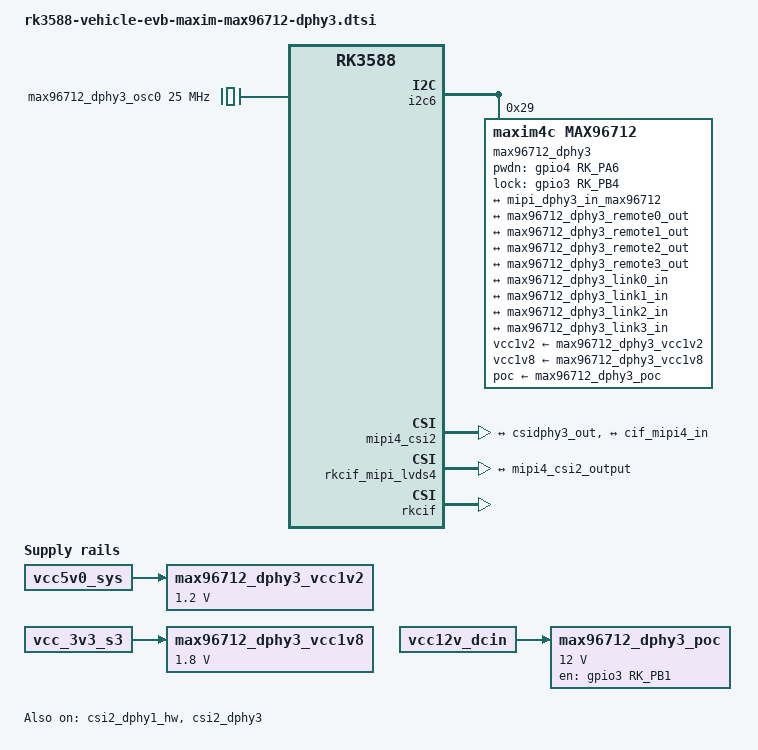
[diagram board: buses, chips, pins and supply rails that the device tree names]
// SPDX-License-Identifier: (GPL-2.0+ OR MIT)
/*
 * Copyright (c) 2023 Rockchip Electronics Co., Ltd.
 *
 */
#include <dt-bindings/display/media-bus-format.h>

/ {
	max96712_dphy3_osc0: max96712-dphy3-oscillator@0 {
		compatible = "fixed-clock";
		#clock-cells = <1>;
		clock-frequency = <25000000>;
		clock-output-names = "max96712-dphy3-osc0";
	};

	max96712_dphy3_vcc1v2: max96712-dphy3-vcc1v2 {
		compatible = "regulator-fixed";
		regulator-name = "max96712_dphy3_vcc1v2";
		regulator-boot-on;
		regulator-always-on;
		regulator-min-microvolt = <1200000>;
		regulator-max-microvolt = <1200000>;
		startup-delay-us = <850>;
		vin-supply = <&vcc5v0_sys>;
	};

	max96712_dphy3_vcc1v8: max96712-dphy3-vcc1v8 {
		compatible = "regulator-fixed";
		regulator-name = "max96712_dphy3_vcc1v8";
		regulator-boot-on;
		regulator-always-on;
		regulator-min-microvolt = <1800000>;
		regulator-max-microvolt = <1800000>;
		startup-delay-us = <200>;
		vin-supply = <&vcc_3v3_s3>;
	};

	max96712_dphy3_poc: max96712-dphy3-poc {
		compatible = "regulator-fixed";
		regulator-name = "max96712_dphy3_poc";
		regulator-boot-on;
		regulator-min-microvolt = <12000000>;
		regulator-max-microvolt = <12000000>;
		enable-active-high;
		gpio = <&gpio3 RK_PB1 GPIO_ACTIVE_HIGH>;
		startup-delay-us = <1050>;
		off-on-delay-us = <515000>;
		vin-supply = <&vcc12v_dcin>;
	};
};

&csi2_dphy1_hw {
	status = "okay";
};

&csi2_dphy3 {
	status = "okay";

	ports {
		#address-cells = <1>;
		#size-cells = <0>;
		port@0 {
			reg = <0>;
			#address-cells = <1>;
			#size-cells = <0>;

			mipi_dphy3_in_max96712: endpoint@1 {
				reg = <1>;
				remote-endpoint = <&max96712_dphy3_out>;
				data-lanes = <1 2 3 4>;
			};
		};
		port@1 {
			reg = <1>;
			#address-cells = <1>;
			#size-cells = <0>;

			csidphy3_out: endpoint@0 {
				reg = <0>;
				remote-endpoint = <&mipi4_csi2_input>;
			};
		};
	};
};

&i2c6 {
	status = "okay";
	pinctrl-names = "default";
	pinctrl-0 = <&i2c6m3_xfer>;

	max96712_dphy3: max96712@29 {
		compatible = "maxim4c,max96712";
		status = "okay";
		reg = <0x29>;
		clock-names = "xvclk";
		clocks = <&max96712_dphy3_osc0 0>;
		pinctrl-names = "default";
		pinctrl-0 = <&max96712_dphy3_pwdn>, <&max96712_dphy3_errb>, <&max96712_dphy3_lock>;
		power-domains = <&power RK3588_PD_VI>;
		rockchip,grf = <&sys_grf>;
		pwdn-gpios = <&gpio4 RK_PA6 GPIO_ACTIVE_HIGH>;
		lock-gpios = <&gpio3 RK_PB4 GPIO_ACTIVE_HIGH>;
		vcc1v2-supply = <&max96712_dphy3_vcc1v2>;
		vcc1v8-supply = <&max96712_dphy3_vcc1v8>;
		poc-supply = <&max96712_dphy3_poc>;

		rockchip,camera-module-index = <0>;
		rockchip,camera-module-facing = "back";
		rockchip,camera-module-name = "max96712";
		rockchip,camera-module-lens-name = "max96712";

		port {
			max96712_dphy3_out: endpoint {
				remote-endpoint = <&mipi_dphy3_in_max96712>;
				data-lanes = <1 2 3 4>;
			};
		};

		/* support mode config start */
		support-mode-config {
			status = "okay";

			bus-format = <MEDIA_BUS_FMT_UYVY8_2X8>;
			sensor-width = <1920>;
			sensor-height = <1440>;
			max-fps-numerator = <10000>;
			max-fps-denominator = <300000>;
			bpp = <16>;
			link-freq-idx = <20>;
			vc-array = <0x10 0x20 0x40 0x80>; // VC0~3: bit4~7
		};
		/* support mode config end */

		/* serdes local device start */
		serdes-local-device {
			status = "okay";

			/* GMSL LINK config start */
			gmsl-links {
				status = "okay";

				link-vdd-ldo1-en = <1>;
				link-vdd-ldo2-en = <1>;

				// Link A: link-id = 0
				gmsl-link-config-0 {
					status = "okay";
					link-id = <0>; // Link ID: 0/1/2/3

					link-type = <1>;
					link-rx-rate = <1>;
					link-tx-rate = <0>;

					port {
						max96712_dphy3_link0_in: endpoint {
							remote-endpoint = <&max96712_dphy3_remote0_out>;
						};
					};

					link-init-sequence {
						seq-item-size = <5>; // reg-addr-len + reg-val-len * 2 + 1
						reg-addr-len = <2>; // 1: 8bits, 2: 16bits
						reg-val-len = <1>; // 1: 8bits, 2: 16bits, 3: 24bits

						// reg_addr reg_val val_mask delay
						init-sequence = [
							14 D1 03 00 00 // VGAHiGain
							14 45 00 00 00 // Disable SSC
						];
					};
				};

				// Link B: link-id = 1
				gmsl-link-config-1 {
					status = "okay";
					link-id = <1>; // Link ID: 0/1/2/3

					link-type = <1>;
					link-rx-rate = <1>;
					link-tx-rate = <0>;

					port {
						max96712_dphy3_link1_in: endpoint {
							remote-endpoint = <&max96712_dphy3_remote1_out>;
						};
					};

					link-init-sequence {
						seq-item-size = <5>; // reg-addr-len + reg-val-len * 2 + 1
						reg-addr-len = <2>; // 1: 8bits, 2: 16bits
						reg-val-len = <1>; // 1: 8bits, 2: 16bits, 3: 24bits

						// reg_addr reg_val val_mask delay
						init-sequence = [
							15 D1 03 00 00 // VGAHiGain
							15 45 00 00 00 // Disable SSC
						];
					};
				};

				// Link C: link-id = 2
				gmsl-link-config-2 {
					status = "okay";
					link-id = <2>; // Link ID: 0/1/2/3

					link-type = <1>;
					link-rx-rate = <1>;
					link-tx-rate = <0>;

					port {
						max96712_dphy3_link2_in: endpoint {
							remote-endpoint = <&max96712_dphy3_remote2_out>;
						};
					};

					link-init-sequence {
						seq-item-size = <5>; // reg-addr-len + reg-val-len * 2 + 1
						reg-addr-len = <2>; // 1: 8bits, 2: 16bits
						reg-val-len = <1>; // 1: 8bits, 2: 16bits, 3: 24bits

						// reg_addr reg_val val_mask delay
						init-sequence = [
							16 D1 03 00 00 // VGAHiGain
							16 45 00 00 00 // Disable SSC
						];
					};
				};

				// Link D: link-id = 3
				gmsl-link-config-3 {
					status = "okay";
					link-id = <3>; // Link ID: 0/1/2/3

					link-type = <1>;
					link-rx-rate = <1>;
					link-tx-rate = <0>;

					port {
						max96712_dphy3_link3_in: endpoint {
							remote-endpoint = <&max96712_dphy3_remote3_out>;
						};
					};

					link-init-sequence {
						seq-item-size = <5>; // reg-addr-len + reg-val-len * 2 + 1
						reg-addr-len = <2>; // 1: 8bits, 2: 16bits
						reg-val-len = <1>; // 1: 8bits, 2: 16bits, 3: 24bits

						// reg_addr reg_val val_mask delay
						init-sequence = [
							17 D1 03 00 00 // VGAHiGain
							17 45 00 00 00 // Disable SSC
						];
					};
				};
			};
			/* GMSL LINK config end */

			/* VIDEO PIPE config start */
			video-pipes {
				status = "okay";

				// Video Pipe 0
				video-pipe-config-0 {
					status = "okay";
					pipe-id = <0>; // Video Pipe ID: 0/1/2/3/4/5/6/7

					pipe-idx = <2>; // Video Pipe X/Y/Z/U: 0/1/2/3
					link-idx = <0>; // Link A/B/C/D: 0/1/2/3

					pipe-init-sequence {
						seq-item-size = <5>; // reg-addr-len + reg-val-len * 2 + 1
						reg-addr-len = <2>; // 1: 8bits, 2: 16bits
						reg-val-len = <1>; // 1: 8bits, 2: 16bits, 3: 24bits

						// reg_addr reg_val val_mask delay
						init-sequence = [
							// Send YUV422, FS, and FE from Video Pipe 0 to Controller 1
							09 0B 07 00 00 // Enable 0/1/2 SRC/DST Mappings
							09 2D 15 00 00 // SRC/DST 0/1/2 -> CSI2 Controller 1;
							// For the following MSB 2 bits = VC, LSB 6 bits = DT
							09 0D 1e 00 00 // SRC0 VC = 0, DT = YUV422 8bit
							09 0E 1e 00 00 // DST0 VC = 0, DT = YUV422 8bit
							09 0F 00 00 00 // SRC1 VC = 0, DT = Frame Start
							09 10 00 00 00 // DST1 VC = 0, DT = Frame Start
							09 11 01 00 00 // SRC2 VC = 0, DT = Frame End
							09 12 01 00 00 // DST2 VC = 0, DT = Frame End
						];
					};
				};

				// Video Pipe 1
				video-pipe-config-1 {
					status = "okay";
					pipe-id = <1>; // Video Pipe 1: pipe-id = 1

					pipe-idx = <2>; // Video Pipe X/Y/Z/U: 0/1/2/3
					link-idx = <1>; // Link A/B/C/D: 0/1/2/3

					pipe-init-sequence {
						seq-item-size = <5>; // reg-addr-len + reg-val-len * 2 + 1
						reg-addr-len = <2>; // 1: 8bits, 2: 16bits
						reg-val-len = <1>; // 1: 8bits, 2: 16bits, 3: 24bits

						// reg_addr reg_val val_mask delay
						init-sequence = [
							// Send YUV422, FS, and FE from Video Pipe 1 to Controller 1
							09 4B 07 00 00 // Enable 0/1/2 SRC/DST Mappings
							09 6D 15 00 00 // SRC/DST 0/1/2 -> CSI2 Controller 1;
							// For the following MSB 2 bits = VC, LSB 6 bits = DT
							09 4D 1e 00 00 // SRC0 VC = 0, DT = YUV422 8bit
							09 4E 5e 00 00 // DST0 VC = 1, DT = YUV422 8bit
							09 4F 00 00 00 // SRC1 VC = 0, DT = Frame Start
							09 50 40 00 00 // DST1 VC = 1, DT = Frame Start
							09 51 01 00 00 // SRC2 VC = 0, DT = Frame End
							09 52 41 00 00 // DST2 VC = 1, DT = Frame End
						];
					};
				};

				// Video Pipe 2
				video-pipe-config-2 {
					status = "okay";
					pipe-id = <2>; // Video Pipe ID: 0/1/2/3/4/5/6/7

					pipe-idx = <2>; // Video Pipe X/Y/Z/U: 0/1/2/3
					link-idx = <2>; // Link A/B/C/D: 0/1/2/3

					pipe-init-sequence {
						seq-item-size = <5>; // reg-addr-len + reg-val-len * 2 + 1
						reg-addr-len = <2>; // 1: 8bits, 2: 16bits
						reg-val-len = <1>; // 1: 8bits, 2: 16bits, 3: 24bits

						// reg_addr reg_val val_mask delay
						init-sequence = [
							// Send YUV422, FS, and FE from Video Pipe 2 to Controller 1
							09 8B 07 00 00 // Enable 0/1/2 SRC/DST Mappings
							09 AD 15 00 00 // SRC/DST 0/1/2 -> CSI2 Controller 1;
							// For the following MSB 2 bits = VC, LSB 6 bits = DT
							09 8D 1e 00 00 // SRC0 VC = 0, DT = YUV422 8bit
							09 8E 9e 00 00 // DST0 VC = 2, DT = YUV422 8bit
							09 8F 00 00 00 // SRC1 VC = 0, DT = Frame Start
							09 90 80 00 00 // DST1 VC = 2, DT = Frame Start
							09 91 01 00 00 // SRC2 VC = 0, DT = Frame End
							09 92 81 00 00 // DST2 VC = 2, DT = Frame End
						];
					};
				};

				// Video Pipe 3
				video-pipe-config-3 {
					status = "okay";
					pipe-id = <3>; // Video Pipe ID: 0/1/2/3/4/5/6/7

					pipe-idx = <2>; // Video Pipe X/Y/Z/U: 0/1/2/3
					link-idx = <3>; // Link A/B/C/D: 0/1/2/3

					pipe-init-sequence {
						seq-item-size = <5>; // reg-addr-len + reg-val-len * 2 + 1
						reg-addr-len = <2>; // 1: 8bits, 2: 16bits
						reg-val-len = <1>; // 1: 8bits, 2: 16bits, 3: 24bits

						// reg_addr reg_val val_mask delay
						init-sequence = [
							// Send YUV422, FS, and FE from Video Pipe 3 to Controller 1
							09 CB 07 00 00 // Enable 0/1/2 SRC/DST Mappings
							09 ED 15 00 00 // SRC/DST 0/1/2 -> CSI2 Controller 1;
							// For the following MSB 2 bits = VC, LSB 6 bits = DT
							09 CD 1e 00 00 // SRC0 VC = 0, DT = YUV422 8bit
							09 CE de 00 00 // DST0 VC = 3, DT = YUV422 8bit
							09 CF 00 00 00 // SRC1 VC = 0, DT = Frame Start
							09 D0 c0 00 00 // DST1 VC = 3, DT = Frame Start
							09 D1 01 00 00 // SRC2 VC = 0, DT = Frame End
							09 D2 c1 00 00 // DST2 VC = 3, DT = Frame End
						];
					};
				};
			};
			/* VIDEO PIPE config end */

			/* MIPI TXPHY config start */
			mipi-txphys {
				status = "okay";

				phy-mode = <0>;
				phy-force-clock-out = <1>;
				phy-force-clk0-en = <1>;
				phy-force-clk3-en = <0>;

				// MIPI TXPHY A: phy-id = 0
				mipi-txphy-config-0 {
					status = "okay";
					phy-id = <0>; // MIPI TXPHY ID: 0/1/2/3

					phy-type = <0>;
					auto-deskew = <0x80>;
					data-lane-num = <4>;
					data-lane-map = <0x4>;
					vc-ext-en = <0>;
				};

				// MIPI TXPHY B: phy-id = 1
				mipi-txphy-config-1 {
					status = "okay";
					phy-id = <1>; // MIPI TXPHY ID: 0/1/2/3

					phy-type = <0>;
					auto-deskew = <0x80>;
					data-lane-num = <4>;
					data-lane-map = <0xe>;
					vc-ext-en = <0>;
				};
			};
			/* MIPI TXPHY config end */

			/* local device extra init sequence */
			extra-init-sequence {
				status = "disabled";

				seq-item-size = <5>; // reg-addr-len + reg-val-len * 2 + 1
				reg-addr-len = <2>; // 1: 8bits, 2: 16bits
				reg-val-len = <1>; // 1: 8bits, 2: 16bits, 3: 24bits

				// reg_addr reg_val val_mask delay
				init-sequence = [
					// common init sequence such as fsync / gpio and so on
				];
			};
		};
		/* serdes local device end */

		/* serdes remote device start */
		serdes-remote-device-0 {
			compatible = "maxim4c,link0,max96717";
			status = "okay";

			remote-id = <0>; // Same as Link ID: 0/1/2/3

			// Serializer i2c 7bit address remap
			ser-i2c-addr-def = <0x40>;
			ser-i2c-addr-map = <0x41>; // 0: disable remap

			// Camera i2c 7bit address remap
			cam-i2c-addr-def = <0x30>;
			cam-i2c-addr-map = <0x31>; // 0: disable remap

			port {
				max96712_dphy3_remote0_out: endpoint {
					remote-endpoint = <&max96712_dphy3_link0_in>;
				};
			};

			remote-init-sequence {
				seq-item-size = <5>; // reg-addr-len + reg-val-len * 2 + 1
				reg-addr-len = <2>; // 1: 8bits, 2: 16bits
				reg-val-len = <1>; // 1: 8bits, 2: 16bits, 3: 24bits

				// reg_addr reg_val val_mask delay
				init-sequence = [
					03 02 10 00 00
					14 17 00 00 00
					14 32 7f 00 00
				];
			};
		};

		serdes-remote-device-1 {
			compatible = "maxim4c,link1,max96717";
			status = "okay";

			remote-id = <1>; // Same as Link ID: 0/1/2/3

			// Serializer i2c 7bit address remap
			ser-i2c-addr-def = <0x40>;
			ser-i2c-addr-map = <0x42>; // 0: disable remap

			// Camera i2c 7bit address remap
			cam-i2c-addr-def = <0x30>;
			cam-i2c-addr-map = <0x32>; // 0: disable remap

			port {
				max96712_dphy3_remote1_out: endpoint {
					remote-endpoint = <&max96712_dphy3_link1_in>;
				};
			};

			remote-init-sequence {
				seq-item-size = <5>; // reg-addr-len + reg-val-len * 2 + 1
				reg-addr-len = <2>; // 1: 8bits, 2: 16bits
				reg-val-len = <1>; // 1: 8bits, 2: 16bits, 3: 24bits

				// reg_addr reg_val val_mask delay
				init-sequence = [
					03 02 10 00 00
					14 17 00 00 00
					14 32 7f 00 00
				];
			};
		};

		serdes-remote-device-2 {
			compatible = "maxim4c,link2,max96717";
			status = "okay";

			remote-id = <2>; // Same as Link ID: 0/1/2/3

			// Serializer i2c 7bit address remap
			ser-i2c-addr-def = <0x40>;
			ser-i2c-addr-map = <0x43>; // 0: disable remap

			// Camera i2c 7bit address remap
			cam-i2c-addr-def = <0x30>;
			cam-i2c-addr-map = <0x33>; // 0: disable remap

			port {
				max96712_dphy3_remote2_out: endpoint {
					remote-endpoint = <&max96712_dphy3_link2_in>;
				};
			};

			remote-init-sequence {
				seq-item-size = <5>; // reg-addr-len + reg-val-len * 2 + 1
				reg-addr-len = <2>; // 1: 8bits, 2: 16bits
				reg-val-len = <1>; // 1: 8bits, 2: 16bits, 3: 24bits

				// reg_addr reg_val val_mask delay
				init-sequence = [
					03 02 10 00 00
					14 17 00 00 00
					14 32 7f 00 00
				];
			};
		};

		serdes-remote-device-3 {
			compatible = "maxim4c,link3,max96717";
			status = "okay";

			remote-id = <3>; // Same as Link ID: 0/1/2/3

			// Serializer i2c 7bit address remap
			ser-i2c-addr-def = <0x40>;
			ser-i2c-addr-map = <0x44>; // 0: disable remap

			// Camera i2c 7bit address remap
			cam-i2c-addr-def = <0x30>;
			cam-i2c-addr-map = <0x34>; // 0: disable remap

			port {
				max96712_dphy3_remote3_out: endpoint {
					remote-endpoint = <&max96712_dphy3_link3_in>;
				};
			};

			remote-init-sequence {
				seq-item-size = <5>; // reg-addr-len + reg-val-len * 2 + 1
				reg-addr-len = <2>; // 1: 8bits, 2: 16bits
				reg-val-len = <1>; // 1: 8bits, 2: 16bits, 3: 24bits

				// reg_addr reg_val val_mask delay
				init-sequence = [
					03 02 10 00 00
					14 17 00 00 00
					14 32 7f 00 00
				];
			};
		};
		/* serdes remote device end */
	};
};

&mipi4_csi2 {
	status = "okay";

	ports {
		#address-cells = <1>;
		#size-cells = <0>;

		port@0 {
			reg = <0>;
			#address-cells = <1>;
			#size-cells = <0>;

			mipi4_csi2_input: endpoint@1 {
				reg = <1>;
				remote-endpoint = <&csidphy3_out>;
			};
		};

		port@1 {
			reg = <1>;
			#address-cells = <1>;
			#size-cells = <0>;

			mipi4_csi2_output: endpoint@0 {
				reg = <0>;
				remote-endpoint = <&cif_mipi4_in>;
			};
		};
	};
};

&rkcif_mipi_lvds4 {
	status = "okay";
	/* parameters for do cif reset detecting:
	 * index0: monitor mode,
		   0 for idle,
		   1 for continue,
		   2 for trigger,
		   3 for hotplug (for nextchip)
	 * index1: the frame id to start timer,
		   min is 2
	 * index2: frame num of monitoring cycle
	 * index3: err time for keep monitoring
		   after finding out err (ms)
	 * index4: csi2 err reference val for resetting
	 */
	rockchip,cif-monitor = <3 2 1 1000 5>;

	port {
		cif_mipi4_in: endpoint {
			remote-endpoint = <&mipi4_csi2_output>;
		};
	};
};

&rkcif {
	status = "okay";
	rockchip,android-usb-camerahal-enable;
};

&rkcif_mmu {
	status = "okay";
};

&pinctrl {
	max96712-dphy3 {
		max96712_dphy3_pwdn: max96712-dphy3-pwdn {
			rockchip,pins = <4 RK_PA6 RK_FUNC_GPIO &pcfg_output_low>;
		};

		max96712_dphy3_errb: max96712-dphy3-errb {
			rockchip,pins = <0 RK_PC2 RK_FUNC_GPIO &pcfg_pull_none_smt>;
		};

		max96712_dphy3_lock: max96712-dphy3-lock {
			rockchip,pins = <3 RK_PB4 RK_FUNC_GPIO &pcfg_pull_none_smt>;
		};
	};
};
